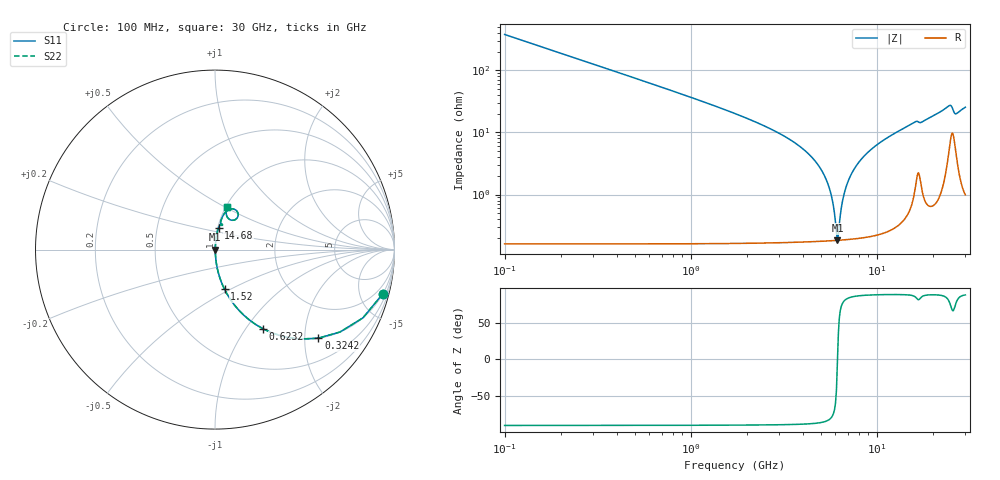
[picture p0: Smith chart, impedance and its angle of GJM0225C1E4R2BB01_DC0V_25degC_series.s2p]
!Murata Part Number: GJM0225C1E4R2BB01
!These Parameters are Measured in Series Mode Connection
!  o--ll--o
!Port1  Port2
!  o------o
!Operation Temp=25[degC], DC Bias Voltage=0[V]
!Freq. Start=100[MHz] Stop=30[GHz], 401[Steps]
!Data Generated on Feb 1, 2023
# Hz S RI R 50
!Freq.(Hz) S11(Real) S11(Imag) S21(Real) S21(Imag) S12(Real) S12(Imag) S22(Real) S22(Imag)
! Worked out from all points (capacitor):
!   401 points, 100 MHz to 30 GHz, reference 50 ohm
!   read as one part in series: C = 4.2 pF near 249.5 MHz
!   lowest |Z| = 183 mohm at 6.155 GHz (marker M1)
!   series resonance near 6.162 GHz, so ESL is about 160 pH
!   S11 on the Smith chart (normalised r, x): 100 MHz: 1.00, -7.58; 324.2 MHz: 1.00, -2.33; 623.2 MHz: 1.00, -1.20; 1.52 GHz: 1.00, -0.47; 14.68 GHz: 1.01, +0.25; 30 GHz: 1.02, +0.51
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1e8  0.9348 -0.2467  0.0652 0.2467  0.0652 0.2467  0.9348 -0.2467
3.2425e8  0.5759 -0.4935  0.4241 0.4935  0.4241 0.4935  0.5759 -0.4935
6.2325e8  0.2664 -0.4408  0.7336 0.4408  0.7336 0.4408  0.2664 -0.4408
9.97e8  0.1216 -0.3246  0.8784 0.3246  0.8784 0.3246  0.1216 -0.3246
1.52025e9  0.0533 -0.2213  0.9467 0.2213  0.9467 0.2213  0.0533 -0.2213
4.1365e9  0.00424 -0.0501  0.9958 0.0501  0.9958 0.0501  0.00424 -0.0501
5.10825e9  0.0023 -0.0232  0.9977 0.0232  0.9977 0.0232  0.0023 -0.0232
5.6315e9  0.00192 -0.0111  0.9981 0.0111  0.9981 0.0111  0.00192 -0.0111
6.08e9  0.00182 -0.00165  0.9982 0.00165  0.9982 0.00165  0.00182 -0.00165
6.15475e9  0.00182 -0.000145  0.9982 0.000145  0.9982 0.000145  0.00182 -0.000145
6.30425e9  0.00184 0.00281  0.9982 -0.00281  0.9982 -0.00281  0.00184 0.00281
6.5285e9  0.0019 0.00711  0.9981 -0.00711  0.9981 -0.00711  0.0019 0.00711
6.678e9  0.00196 0.00991  0.998 -0.00991  0.998 -0.00991  0.00196 0.00991
7.35075e9  0.00238 0.0218  0.9976 -0.0218  0.9976 -0.0218  0.00238 0.0218
8.472e9  0.00361 0.0399  0.9964 -0.0399  0.9964 -0.0399  0.00361 0.0399
1.01165e10  0.00632 0.0638  0.9937 -0.0638  0.9937 -0.0638  0.00632 0.0638
1.467625e10  0.0202 0.123  0.9798 -0.123  0.9798 -0.123  0.0202 0.123
1.505e10  0.0222 0.1279  0.9778 -0.1279  0.9778 -0.1279  0.0222 0.1279
2.005825e10  0.0388 0.176  0.9612 -0.176  0.9612 -0.176  0.0388 0.176
2.50665e10  0.1259 0.2084  0.8741 -0.2084  0.8741 -0.2084  0.1259 0.2084
2.648675e10  0.0828 0.1671  0.9172 -0.1671  0.9172 -0.1671  0.0828 0.1671
3e10  0.069 0.2349  0.931 -0.2349  0.931 -0.2349  0.069 0.2349
